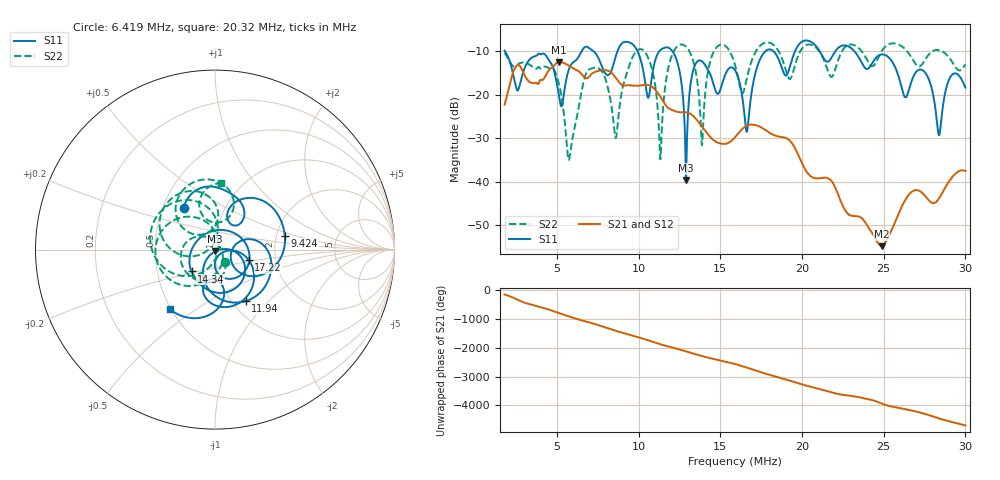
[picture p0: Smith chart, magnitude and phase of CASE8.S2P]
!Agilent Technologies,E5061B,MY49101568,A.02.00
!Date: Wed Mar 01 14:26:35 2023
!Data & Calibration Information:
!Freq	S11:SOLT2(OFF)	S21:SOLT2(OFF)	S12:SOLT2(OFF)	S22:SOLT2(OFF)
# Hz S dB R 50
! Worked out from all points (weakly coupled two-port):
!   1155 points, 1.8 MHz to 30 MHz, reference 50 ohm
!   highest |S21| = -12.51 dB at 5.123 MHz (marker M1); lowest = -54.7 dB at 24.87 MHz (marker M2)
!   lowest |S11| = -39.7 dB at 12.89 MHz (marker M3), VSWR 1.02, Z = 50 - j1.04 ohm
!   |S11| at or under -10 dB: 1.811 MHz to 6.528 MHz (4.717 MHz wide, 113 % of centre); 12.06 MHz to 17.78 MHz (5.728 MHz wide, 38.4 % of centre); 23.19 MHz to end of sweep (the widest 3 of 7)
!   |S22| runs from -35.0 to -8.0 dB; largest |S21 - S12| = 0.0031
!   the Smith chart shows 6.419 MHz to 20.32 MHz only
!   S11 on the Smith chart (normalised r, x): 6.419 MHz: 0.64, +0.32; 9.424 MHz: 2.23, +0.40; 11.94 MHz: 1.15, -0.74; 14.34 MHz: 0.75, -0.19; 17.22 MHz: 1.45, -0.18; 20.32 MHz: 0.49, -0.39
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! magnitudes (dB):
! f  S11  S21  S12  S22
! 1.8 MHz  -9.9  -22.3  -22.3  -10.4
! 5.123 MHz  -20.1  -12.5  -12.5  -17.6
! 5.734 MHz  -14.2  -13.4  -13.4  -35.0
! 6.419 MHz  -10.8  -14.9  -14.9  -21.1
! 6.516 MHz  -10.1  -15.3  -15.2  -19.2
! 8.593 MHz  -11.3  -16.1  -16.0  -30.0
! 9.424 MHz  -8.0  -17.9  -17.8  -13.4
! 10.57 MHz  -20.7  -17.8  -17.9  -11.5
! 11.21 MHz  -10.4  -19.8  -19.8  -25.3
! 11.94 MHz  -9.5  -23.4  -23.4  -12.1
! 12.89 MHz  -39.7  -24.1  -24.1  -9.0
! 13.87 MHz  -12.4  -27.3  -27.3  -31.6
! 14.34 MHz  -15.0  -29.5  -29.5  -13.1
! 15.9 MHz  -14.4  -29.8  -29.8  -13.2
! 16.61 MHz  -28.5  -27.1  -27.2  -16.5
! 17.22 MHz  -14.1  -27.1  -27.2  -9.9
! 20.32 MHz  -7.6  -37.9  -37.9  -8.6
! 20.62 MHz  -8.1  -38.9  -38.9  -8.7
! 24.87 MHz  -10.8  -54.7  -54.7  -10.1
! 25.31 MHz  -11.5  -52.4  -52.4  -8.5
! 28.39 MHz  -29.4  -43.8  -43.7  -9.8
! 30 MHz  -18.4  -37.5  -37.5  -13.1
